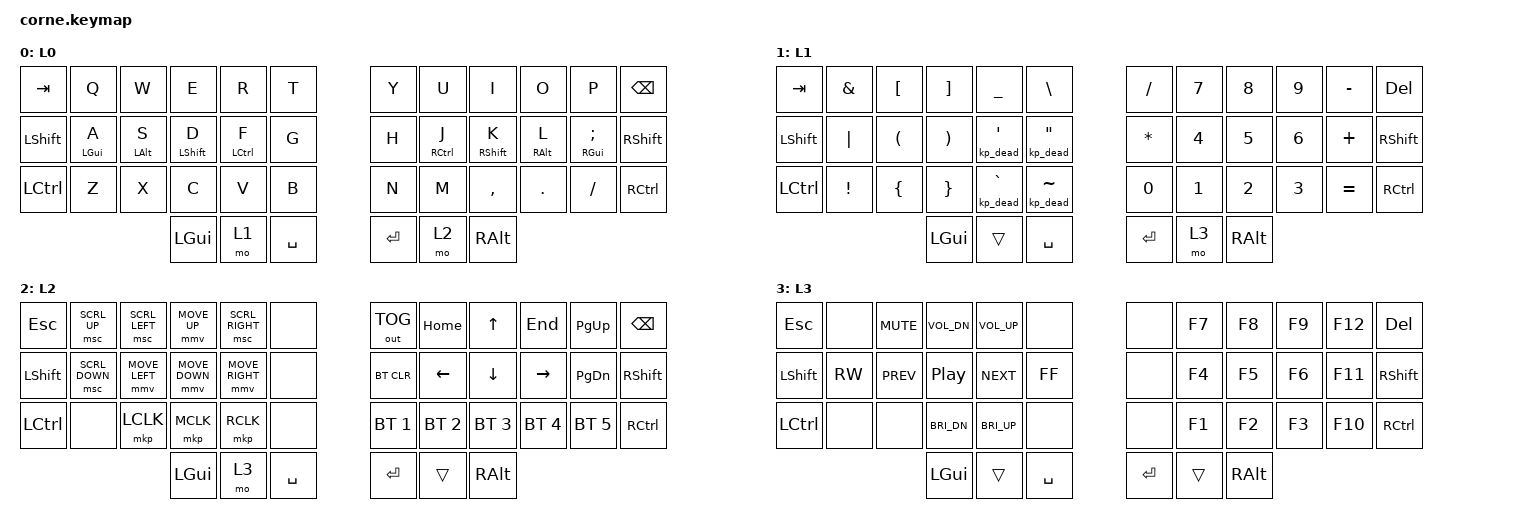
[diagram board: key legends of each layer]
/*
 * Copyright (c) 2020 The ZMK Contributors
 *
 * SPDX-License-Identifier: MIT
 */
#define ZMK_POINTING_DEFAULT_MOVE_VAL 1500  // default: 600
#define ZMK_POINTING_DEFAULT_SCRL_VAL 20    // default: 10

#include <dt-bindings/zmk/pointing.h>
//#include <behaviors.dtsi>
#include <dt-bindings/zmk/keys.h>
#include <dt-bindings/zmk/bt.h>
#include <dt-bindings/zmk/outputs.h>
#include <dt-bindings/zmk/ext_power.h>
#include <dt-bindings/led/led.h>
#include <dt-bindings/zmk/backlight.h>
#include <dt-bindings/zmk/rgb.h>
#include <dt-bindings/zmk/reset.h>

//#include "behaviors.dtsi"
#include "homerow-mods.dtsi"
#include "dead-keys.dtsi"

/ {
    keymap {
        compatible = "zmk,keymap";

        default_layer {
            display-name = "L0";
            // -----------------------------------------------------------------------------------------
            // | TAB  |  Q  |  W  |  E  |  R  |  T  |   |  Y  |  U  |  I  |  O  |  P  | BSPC |
            // | SHFT |  A  |  S  |  D  |  F  |  G  |   |  H  |  J  |  K  |  L  |  ;  | SHFT |
            // | CTRL |  Z  |  X  |  C  |  V  |  B  |   |  N  |  M  |  ,  |  .  |  /  | CTRL |
            //                    | GUI | L_1 | SPC |   | ENT | L_2 | ALT |
            bindings = <
                &kp TAB   &kp Q &kp W &kp E &kp R &kp T     &kp Y &kp U  &kp I     &kp O   &kp P    &kp BSPC
                &kp LSHFT &hml LGUI A &hml LALT S &hml LSHFT D &hml LCTRL F &kp G     &kp H &hmr RCTRL J  &hmr RSHFT K     &hmr RALT L   &hmr RGUI SEMI &kp RSHFT
                &kp LCTRL &kp Z &kp X &kp C &kp V &kp B     &kp N &kp M  &kp COMMA &kp DOT &kp FSLH &kp RCTRL
                             &kp LGUI  &mo 1  &kp SPACE     &kp RET  &mo 2 &kp RALT
            >;
        };

        // Zahlen + Zeichen
        layer_1 {
            display-name = "L1";
            // -----------------------------------------------------------------------------------------
            // | TAB  |  &  |  [  |  ]  |  _  |  \  |   |  /  |  7  |  8  |  9  |  -  | DEL  |
            // | SHFT | '|' |  (  |  )  |  '  |  "  |   |  *  |  4  |  5  |  6  |  +  | SHFT |
            // | CTRL |  !  |  {  |  }  |  `  |  ~  |   |  0  |  1  |  2  |  3  |  =  | CTRL |
            //                    | GUI |     | SPC |   | ENT | L_3 | ALT |
            bindings = <
                &kp TAB    &kp AMPS   &kp LBKT  &kp RBKT  &kp UNDER  &kp BSLH      &kp FSLH  &kp N7  &kp N8  &kp N9  &kp MINUS  &kp DEL
                &kp LSHFT  &kp PIPE   &kp LPAR  &kp RPAR  &kp_dead SQT  &kp_dead DQT       &kp STAR  &kp N4  &kp N5  &kp N6  &kp PLUS   &kp RSHFT
                &kp LCTRL  &kp EXCL   &kp LBRC  &kp RBRC  &kp_dead GRAVE  &kp_dead TILDE     &kp N0    &kp N1  &kp N2  &kp N3  &kp EQUAL  &kp RCTRL
                                                &kp LGUI  &trans     &kp SPACE     &kp RET   &mo 3   &kp RALT
            >;
        };

        // Navigation + Maus + Bluetooth
        layer_2 {
            display-name = "L2";
            // -----------------------------------------------------------------------------------------
            // | ESC  | SCRL_UP | SCRL_L | MV_UP | SCRL_R | --- |   | OUT_TOG | HOME |  UP  |  END  | PG_UP | BSPC |
            // | SHFT | SCRL_DN |  MV_L  | MV_DN |  MV_R  | --- |   | BT_CLR  | LEFT | DOWN | RIGHT | PG_DN | SHFT |
            // | CTRL |   ---   |  LCLK  | MCLK  |  RCLK  | --- |   |  BT_1   | BT_2 | BT_3 | BT_4  | BT_5  | CTRL |
            //                           |  GUI  |  L_3   | SPC |   |   ENT   |      | ALT  |
            bindings = <
                &kp ESC   &msc SCRL_UP    &msc SCRL_LEFT  &mmv MOVE_UP    &msc SCRL_RIGHT  &none      &out OUT_TOG  &kp HOME      &kp UP        &kp END       &kp PG_UP     &kp BSPC
                &kp LSHFT &msc SCRL_DOWN  &mmv MOVE_LEFT  &mmv MOVE_DOWN  &mmv MOVE_RIGHT  &none      &bt BT_CLR    &kp LEFT      &kp DOWN      &kp RIGHT     &kp PG_DN     &kp RSHFT
                &kp LCTRL &none           &mkp LCLK       &mkp MCLK       &mkp RCLK        &none      &bt BT_SEL 1  &bt BT_SEL 2  &bt BT_SEL 3  &bt BT_SEL 4  &bt BT_SEL 5  &kp RCTRL
                                                          &kp LGUI        &mo 3        &kp SPACE      &kp RET   &trans    &kp RALT
            >;
        };

        // Media + F-Tasten
        layer_3 {
            display-name = "L3";
            // -----------------------------------------------------------------------------------------
            // | ESC  | --- | MUTE | VOL_DN | VOL_UP | --- |   | ---  | F7  | F8  | F9  | F12 | DEL  |
            // | SHFT | RW  | PREV |  PLAY  |  NEXT  | FF  |   | ---  | F4  | F5  | F6  | F11 | SHFT |
            // | CTRL | --- | ---  | BRI_DN | BRI_UP | --- |   | ---  | F1  | F2  | F3  | F10 | CTRL |
            //                     |  GUI   |        | SPC |   | ENT  |     | ALT |
            bindings = <
                &kp ESC    &none     &kp C_MUTE  &kp C_VOL_DN  &kp C_VOL_UP  &none         &none    &kp F7  &kp F8  &kp F9  &kp F12  &kp DEL
                &kp LSHFT  &kp C_RW  &kp C_PREV  &kp C_PP      &kp C_NEXT    &kp C_FF      &none    &kp F4  &kp F5  &kp F6  &kp F11  &kp RSHFT
                &kp LCTRL  &none     &none       &kp C_BRI_DN  &kp C_BRI_UP  &none         &none    &kp F1  &kp F2  &kp F3  &kp F10  &kp RCTRL
                                                 &kp LGUI      &trans       &kp SPACE      &kp RET  &trans  &kp RALT
            >;
        };

        extra_1 {
            status = "reserved";
        };

        extra_2 {
            status = "reserved";
        };

        extra_3 {
            status = "reserved";
        };
    };
};
